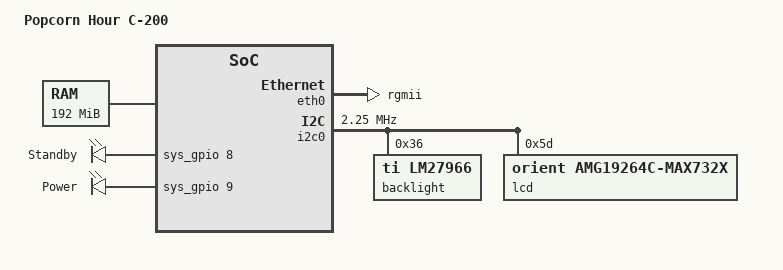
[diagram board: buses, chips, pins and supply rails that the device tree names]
/dts-v1/;

/include/ "smp8640.dtsi"

/ {
	compatible = "syabas,pch_c200", "sigma,smp8640-soc";
	model = "Popcorn Hour C-200";

	memory@10000000 {
		device_type = "memory";
		reg = <0x10000000 0xc000000>;
	};

	leds {
		compatible = "gpio-leds";

		standby {
			label = "Standby";
			gpios = <&sys_gpio 8 0>;
			default-state = "on";
		};

		power {
			label = "Power";
			gpios = <&sys_gpio 9 0>;
		};
	};
};

&eth0 {
	phy-connection-type = "rgmii";
	max-speed = <1000>;
};

&i2c0 {
	clock-frequency = <2250000>;

	backlight@36 {
		compatible = "ti,lm27966";
		reg = <0x36>;
		default-power = <1>;
		default-brightness = <7>;
	};

	lcd@5d {
		compatible = "orient,amg19264c-max732x";
		reg = <0x5d>;
		pin-e = <10>;
		pin-rs = <12>;
		pin-cs1 = <13>;
		pin-cs2 = <14>;
		pin-cs3 = <15>;
	};
};
